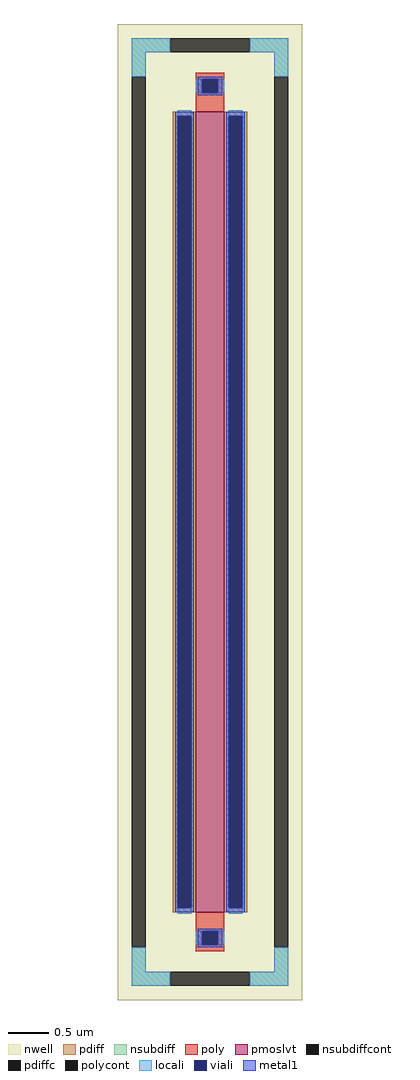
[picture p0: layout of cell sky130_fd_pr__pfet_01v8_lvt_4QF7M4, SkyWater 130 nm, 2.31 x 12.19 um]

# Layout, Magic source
magic
tech sky130A
magscale 1 2
<< nwell >>
rect -231 -1219 231 1219
<< pmoslvt >>
rect -35 -1000 35 1000
<< pdiff >>
rect -93 988 -35 1000
rect -93 -988 -81 988
rect -47 -988 -35 988
rect -93 -1000 -35 -988
rect 35 988 93 1000
rect 35 -988 47 988
rect 81 -988 93 988
rect 35 -1000 93 -988
<< pdiffc >>
rect -81 -988 -47 988
rect 47 -988 81 988
<< nsubdiff >>
rect -195 1149 -99 1183
rect 99 1149 195 1183
rect -195 1087 -161 1149
rect 161 1087 195 1149
rect -195 -1149 -161 -1087
rect 161 -1149 195 -1087
rect -195 -1183 -99 -1149
rect 99 -1183 195 -1149
<< nsubdiffcont >>
rect -99 1149 99 1183
rect -195 -1087 -161 1087
rect 161 -1087 195 1087
rect -99 -1183 99 -1149
<< poly >>
rect -35 1081 35 1097
rect -35 1047 -19 1081
rect 19 1047 35 1081
rect -35 1000 35 1047
rect -35 -1047 35 -1000
rect -35 -1081 -19 -1047
rect 19 -1081 35 -1047
rect -35 -1097 35 -1081
<< polycont >>
rect -19 1047 19 1081
rect -19 -1081 19 -1047
<< locali >>
rect -195 1149 -99 1183
rect 99 1149 195 1183
rect -195 1087 -161 1149
rect 161 1087 195 1149
rect -35 1047 -19 1081
rect 19 1047 35 1081
rect -81 988 -47 1004
rect -81 -1004 -47 -988
rect 47 988 81 1004
rect 47 -1004 81 -988
rect -35 -1081 -19 -1047
rect 19 -1081 35 -1047
rect -195 -1149 -161 -1087
rect 161 -1149 195 -1087
rect -195 -1183 -99 -1149
rect 99 -1183 195 -1149
<< viali >>
rect -19 1047 19 1081
rect -81 -988 -47 988
rect 47 -988 81 988
rect -19 -1081 19 -1047
<< metal1 >>
rect -31 1081 31 1087
rect -31 1047 -19 1081
rect 19 1047 31 1081
rect -31 1041 31 1047
rect -87 988 -41 1000
rect -87 -988 -81 988
rect -47 -988 -41 988
rect -87 -1000 -41 -988
rect 41 988 87 1000
rect 41 -988 47 988
rect 81 -988 87 988
rect 41 -1000 87 -988
rect -31 -1047 31 -1041
rect -31 -1081 -19 -1047
rect 19 -1081 31 -1047
rect -31 -1087 31 -1081
<< properties >>
string FIXED_BBOX -178 -1166 178 1166
string gencell sky130_fd_pr__pfet_01v8_lvt
string library sky130
string parameters w 10.0 l 0.35 m 1 nf 1 diffcov 100 polycov 100 guard 1 glc 1 grc 1 gtc 1 gbc 1 tbcov 100 rlcov 100 topc 1 botc 1 poverlap 0 doverlap 1 lmin 0.35 wmin 0.42 compatible {sky130_fd_pr__pfet_01v8  sky130_fd_pr__pfet_01v8_lvt sky130_fd_pr__pfet_01v8_hvt  sky130_fd_pr__pfet_g5v0d10v5} full_metal 1 viasrc 100 viadrn 100 viagate 100 viagb 0 viagr 0 viagl 0 viagt 0
<< end >>
